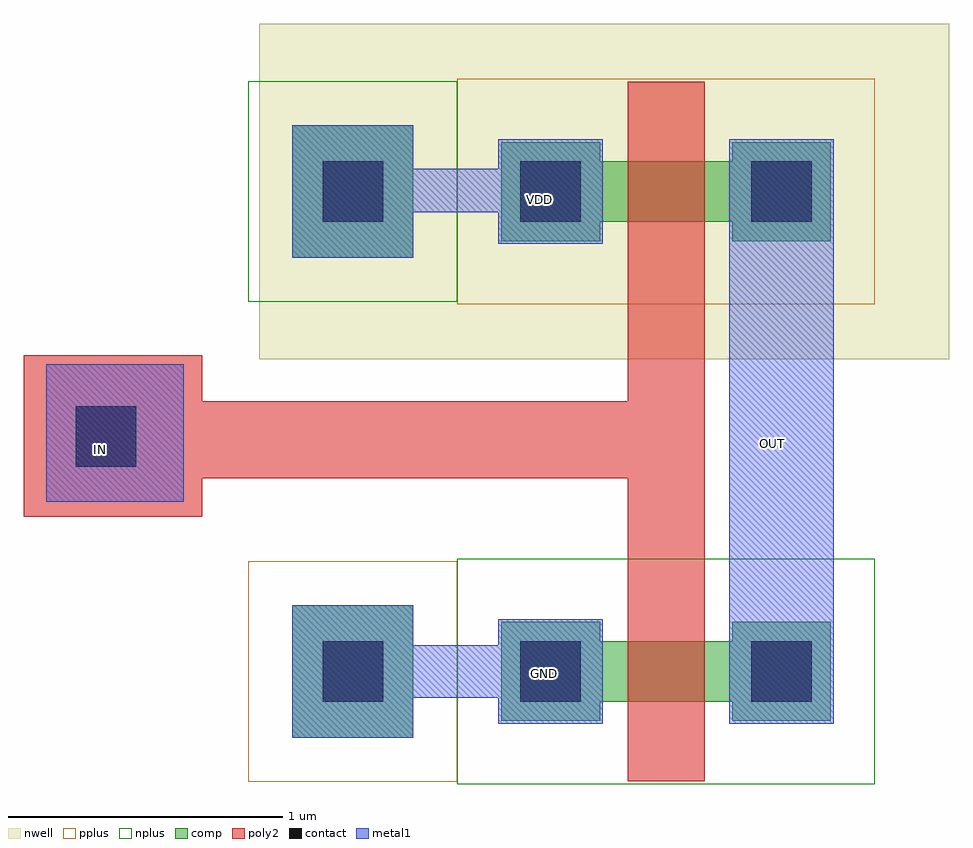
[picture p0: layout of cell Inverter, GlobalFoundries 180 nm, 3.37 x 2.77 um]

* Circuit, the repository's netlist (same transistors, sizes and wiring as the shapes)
* NGSPICE file created from Inverter.ext - technology: gf180mcuC

.subckt Inverter VDD GND IN OUT
X0 OUT IN GND GND nmos_3p3 w=0.22u l=0.28u
X1 OUT IN VDD VDD pmos_3p3 w=0.22u l=0.28u
.ends

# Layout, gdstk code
import gdstk
lib = gdstk.Library(unit=1e-6, precision=1e-09)
def R(c, l, rs):  # rectangles x0, y0, x1, y1
    for r in rs: c.add(gdstk.rectangle(r[:2], r[2:], *l))
def P(c, l, *ps):  # polygons
    for p in ps: c.add(gdstk.Polygon(p, *l))
nwell = (21, 0)
comp = (22, 0)
poly2 = (30, 0)
pplus = (31, 0)
nplus = (32, 0)
contact = (33, 0)
metal1 = (34, 0)

nfet_1 = lib.new_cell('nfet$1')
R(nfet_1, comp, [(-0.76,-0.061,-0.32,0.421)])
P(nfet_1, comp, [(0,0),(0,0.36),(0.36,0.36),(0.36,0.29),(0.84,0.29),(0.84,0.36),(1.2,0.36),(1.2,0),(0.84,0),(0.84,0.07),(0.36,0.07),(0.36,0)])
R(nfet_1, poly2, [(0.46,-0.22,0.74,0.58)])
R(nfet_1, pplus, [(-0.92,-0.221,-0.16,0.581)])
R(nfet_1, nplus, [(-0.16,-0.23,1.36,0.59)])
R(nfet_1, contact, [(-0.65,0.07,-0.43,0.29), (0.07,0.07,0.29,0.29), (0.91,0.07,1.13,0.29)])
R(nfet_1, metal1, [(-0.76,-0.061,-0.32,0.421), (-0.01,-0.01,0.37,0.37), (0.83,-0.01,1.21,0.37)])

pfet_1 = lib.new_cell('pfet$1')
R(pfet_1, nwell, [(-0.88,-0.43,1.63,0.79)])
R(pfet_1, comp, [(-0.76,-0.061,-0.32,0.421)])
P(pfet_1, comp, [(0,0),(0,0.36),(0.36,0.36),(0.36,0.29),(0.84,0.29),(0.84,0.36),(1.2,0.36),(1.2,0),(0.84,0),(0.84,0.07),(0.36,0.07),(0.36,0)])
R(pfet_1, poly2, [(0.46,-0.22,0.74,0.58)])
R(pfet_1, pplus, [(-0.16,-0.23,1.36,0.59)])
R(pfet_1, nplus, [(-0.92,-0.221,-0.16,0.581)])
R(pfet_1, contact, [(-0.65,0.07,-0.43,0.29), (0.07,0.07,0.29,0.29), (0.91,0.07,1.13,0.29)])
R(pfet_1, metal1, [(-0.76,-0.061,-0.32,0.421), (-0.01,-0.01,0.37,0.37), (0.83,-0.01,1.21,0.37)])

inverter = lib.new_cell('Inverter')
R(inverter, poly2, [(-0.053,0.841,0.227,1.895), (-2.25,1.087,-1.601,1.676), (-1.67,1.228,0.114,1.508)])
R(inverter, contact, [(-2.061,1.269,-1.841,1.489)])
R(inverter, metal1, [(0.317,0.335,0.697,2.461), (-1.179,0.429,-0.27,0.62), (-2.168,1.142,-1.668,1.642), (-1.196,2.196,-0.283,2.354)])
inverter.add(gdstk.Reference(nfet_1, (-0.513,0.345)))
inverter.add(gdstk.Reference(pfet_1, (-0.513,2.091)))
inverter.add(gdstk.Label('VDD', (-0.372,2.242), layer=34, texttype=10))
inverter.add(gdstk.Label('GND', (-0.355,0.518), layer=34, texttype=10))
inverter.add(gdstk.Label('IN', (-1.973,1.334), layer=34, texttype=10))
inverter.add(gdstk.Label('OUT', (0.473,1.354), layer=34, texttype=10))

lib.write_gds('Inverter.gds')
